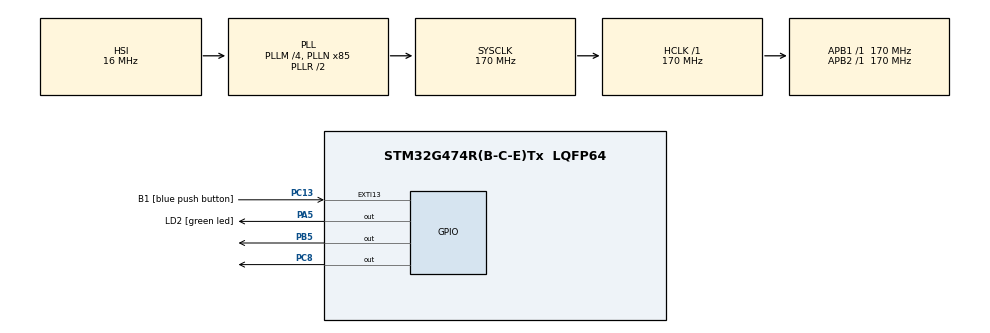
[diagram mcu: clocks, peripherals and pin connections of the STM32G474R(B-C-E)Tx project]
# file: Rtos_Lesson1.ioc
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FREERTOS.Tasks01=defaultTask,0,128,StartDefaultTask,Default,NULL,Dynamic,NULL,NULL;LedTask1,1,128,LedTaskFunc,Default,NULL,Dynamic,NULL,NULL;myTask03,0,128,YellowLED,Default,NULL,Dynamic,NULL,NULL
FREERTOS.configUSE_NEWLIB_REENTRANT=0
Mcu.Family=STM32G4
Mcu.Name=STM32G474R(B-C-E)Tx
Mcu.Package=LQFP64
NVIC.EXTI15_10_IRQn=true\:5\:0\:false\:false\:true\:true\:true\:true\:true
NVIC.PriorityGroup=NVIC_PRIORITYGROUP_4
PA13.GPIO_Label=T_SWDIO
PA13.Mode=Trace_Asynchronous_SW
PA13.Signal=SYS_JTMS-SWDIO
PA14.GPIO_Label=T_SWCLK
PA14.Mode=Trace_Asynchronous_SW
PA14.Signal=SYS_JTCK-SWCLK
PA2.GPIO_Label=LPUART1_TX [STLINKV3E_VCP_RX]
PA2.Signal=LPUART1_TX
PA3.GPIO_Label=LPUART1_RX [STLINKV3E_VCP_TX]
PA3.Signal=LPUART1_RX
PA5.GPIO_Label=LD2 [green led]
PA5.Signal=GPIO_Output
PB3.GPIO_Label=T_SWO
PB3.Mode=Trace_Asynchronous_SW
PB3.Signal=SYS_JTDO-SWO
PB5.Signal=GPIO_Output
PC13.GPIO_Label=B1 [blue push button]
PC13.Signal=GPXTI13
PC14-OSC32_IN.Mode=LSE-External-Oscillator
PC14-OSC32_IN.Signal=RCC_OSC32_IN
PC15-OSC32_OUT.Mode=LSE-External-Oscillator
PC15-OSC32_OUT.Signal=RCC_OSC32_OUT
PC8.Signal=GPIO_Output
PF0-OSC_IN.Mode=HSE-External-Oscillator
PF0-OSC_IN.Signal=RCC_OSC_IN
PF1-OSC_OUT.Mode=HSE-External-Oscillator
PF1-OSC_OUT.Signal=RCC_OSC_OUT
ProjectManager.HeapSize=0x200
ProjectManager.StackSize=0x400
ProjectManager.TargetToolchain=STM32CubeIDE
RCC.ADC12Freq_Value=170000000
RCC.ADC345Freq_Value=170000000
RCC.AHBFreq_Value=170000000
RCC.APB1Freq_Value=170000000
RCC.APB1TimFreq_Value=170000000
RCC.APB2Freq_Value=170000000
RCC.APB2TimFreq_Value=170000000
RCC.CortexFreq_Value=170000000
RCC.EXTERNAL_CLOCK_VALUE=12288000
RCC.HCLKFreq_Value=170000000
RCC.HSE_VALUE=24000000
RCC.HSI48_VALUE=48000000
RCC.HSI_VALUE=16000000
RCC.PLLM=RCC_PLLM_DIV4
RCC.PLLN=85
RCC.RTCClockSelection=RCC_RTCCLKSOURCE_LSE
RCC.SYSCLKFreq_VALUE=170000000
RCC.SYSCLKSource=RCC_SYSCLKSOURCE_PLLCLK
RCC.USBFreq_Value=170000000
RCC.VCOOutputFreq_Value=340000000
VP_FREERTOS_VS_CMSIS_V1.Mode=CMSIS_V1
VP_SYS_VS_DBSignals.Mode=DisableDeadBatterySignals
board=NUCLEO-G474RE

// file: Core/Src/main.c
/* USER CODE BEGIN Header */
/**
 ******************************************************************************
 * @file           : main.c
 * @brief          : Main program body
 ******************************************************************************
 * @attention
 *
 * Copyright (c) 2023 STMicroelectronics.
 * All rights reserved.
 *
 * This software is licensed under terms that can be found in the LICENSE file
 * in the root directory of this software component.
 * If no LICENSE file comes with this software, it is provided AS-IS.
 *
 ******************************************************************************
 */
/* USER CODE END Header */
#include "main.h"
#include "cmsis_os.h"
#include "gpio.h"

void SystemClock_Config(void);
void MX_FREERTOS_Init(void);

int main(void)
{

  /* MCU Configuration--------------------------------------------------------*/

  /* Reset of all peripherals, Initializes the Flash interface and the Systick. */
  HAL_Init();

  /* Configure the system clock */
  SystemClock_Config();

  /* Initialize all configured peripherals */
  MX_GPIO_Init();

  /* Call init function for freertos objects (in freertos.c) */
  MX_FREERTOS_Init();

  /* Start scheduler */
  osKernelStart();
  /* We should never get here as control is now taken by the scheduler */
  /* Infinite loop */
  /* USER CODE BEGIN WHILE */
  while (1) {
    NVIC_SystemReset;
    /* USER CODE END WHILE */

  }
}

void SystemClock_Config(void)
{
  RCC_OscInitTypeDef RCC_OscInitStruct = {0};
  RCC_ClkInitTypeDef RCC_ClkInitStruct = {0};

  /** Configure the main internal regulator output voltage
  */
  HAL_PWREx_ControlVoltageScaling(PWR_REGULATOR_VOLTAGE_SCALE1_BOOST);

  /** Initializes the RCC Oscillators according to the specified parameters
  * in the RCC_OscInitTypeDef structure.
  */
  RCC_OscInitStruct.OscillatorType = RCC_OSCILLATORTYPE_HSI;
  RCC_OscInitStruct.HSIState = RCC_HSI_ON;
  RCC_OscInitStruct.HSICalibrationValue = RCC_HSICALIBRATION_DEFAULT;
  RCC_OscInitStruct.PLL.PLLState = RCC_PLL_ON;
  RCC_OscInitStruct.PLL.PLLSource = RCC_PLLSOURCE_HSI;
  RCC_OscInitStruct.PLL.PLLM = RCC_PLLM_DIV4;
  RCC_OscInitStruct.PLL.PLLN = 85;
  RCC_OscInitStruct.PLL.PLLP = RCC_PLLP_DIV2;
  RCC_OscInitStruct.PLL.PLLQ = RCC_PLLQ_DIV2;
  RCC_OscInitStruct.PLL.PLLR = RCC_PLLR_DIV2;
  if (HAL_RCC_OscConfig(&RCC_OscInitStruct) != HAL_OK)
  {
    Error_Handler();
  }

  /** Initializes the CPU, AHB and APB buses clocks
  */
  RCC_ClkInitStruct.ClockType = RCC_CLOCKTYPE_HCLK|RCC_CLOCKTYPE_SYSCLK
                              |RCC_CLOCKTYPE_PCLK1|RCC_CLOCKTYPE_PCLK2;
  RCC_ClkInitStruct.SYSCLKSource = RCC_SYSCLKSOURCE_PLLCLK;
  RCC_ClkInitStruct.AHBCLKDivider = RCC_SYSCLK_DIV1;
  RCC_ClkInitStruct.APB1CLKDivider = RCC_HCLK_DIV1;
  RCC_ClkInitStruct.APB2CLKDivider = RCC_HCLK_DIV1;

  if (HAL_RCC_ClockConfig(&RCC_ClkInitStruct, FLASH_LATENCY_4) != HAL_OK)
  {
    Error_Handler();
  }
}

void Error_Handler(void)
{
  __disable_irq();
  while (1) {
  }
}

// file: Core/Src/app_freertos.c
/* USER CODE BEGIN Header */
/**
 ******************************************************************************
 * File Name          : app_freertos.c
 * Description        : Code for freertos applications
 ******************************************************************************
 * @attention
 *
 * Copyright (c) 2023 STMicroelectronics.
 * All rights reserved.
 *
 * This software is licensed under terms that can be found in the LICENSE file
 * in the root directory of this software component.
 * If no LICENSE file comes with this software, it is provided AS-IS.
 *
 ******************************************************************************
 */
/* USER CODE END Header */

#include "FreeRTOS.h"
#include "task.h"
#include "main.h"
#include "cmsis_os.h"

/* USER CODE BEGIN Includes */
#include <stdio.h>
#include <stdlib.h>
#include <time.h>
/* USER CODE END Includes */

/* USER CODE BEGIN PD */
//#define USER_BUTTON_PIN                       GPIO_PIN_13
//#define USER_BUTTON_GPIO_PORT                 GPIOC
#define YELLOW_PIN                              GPIO_PIN_5
#define YELLOW_GPIO_PORT                        GPIOB
/* USER CODE END PD */

/* USER CODE BEGIN Variables */
uint32_t LD2_Period = 100;
uint32_t YELLOW_Period = 300;

int i, n = 5;
time_t t;

/* USER CODE END Variables */
osThreadId defaultTaskHandle;
osThreadId LedTask1Handle;
osThreadId myTask03Handle;

/* USER CODE BEGIN FunctionPrototypes */
uint16_t sqrt_new(uint32_t L) {
  if (L < 2)
    return (uint16_t) L;

  uint32_t rslt, div;

  rslt = L;
  div = L / 2;

  while (1) {
    div = (L / div + div) / 2;

    if (rslt > div)
      rslt = div;
    else
      return (uint16_t) rslt;
  }
}
/* USER CODE END FunctionPrototypes */

void StartDefaultTask(const void *argument);
void LedTaskFunc(const void *argument);
void YellowLED(const void *argument);

void MX_FREERTOS_Init(void); /* (MISRA C 2004 rule 8.1) */

void MX_FREERTOS_Init(void) {

  /* Create the thread(s) */
  /* definition and creation of defaultTask */
  osThreadDef(defaultTask, StartDefaultTask, osPriorityNormal, 0, 128);
  defaultTaskHandle = osThreadCreate(osThread(defaultTask), NULL);

  /* definition and creation of LedTask1 */
  osThreadDef(LedTask1, LedTaskFunc, osPriorityAboveNormal, 0, 128);
  LedTask1Handle = osThreadCreate(osThread(LedTask1), NULL);

  /* definition and creation of myTask03 */
  osThreadDef(myTask03, YellowLED, osPriorityNormal, 0, 128);
  myTask03Handle = osThreadCreate(osThread(myTask03), NULL);

}

void StartDefaultTask(const void *argument) {
  /* USER CODE BEGIN StartDefaultTask */
  /* Infinite loop */
  for (;;) {
    if (LD2_Period == 100) {
      LD2_Period = 1000;
    } else
      LD2_Period = 100;
    osDelay(5000);
  }
  /* USER CODE END StartDefaultTask */
}

void LedTaskFunc(const void *argument) {
  /* USER CODE BEGIN LedTaskFunc */
  /* Infinite loop */
  for (;;) {
    HAL_GPIO_TogglePin(LD2_GPIO_Port, LD2_Pin);

    osDelay(LD2_Period);
  }
  /* USER CODE END LedTaskFunc */
}

void YellowLED(const void *argument) {
  /* USER CODE BEGIN YellowLED */
  srand((unsigned) time(&t));
  /* Infinite loop */
  for (;;) {
    HAL_GPIO_TogglePin(YELLOW_GPIO_PORT, YELLOW_PIN);
    //osDelay(3 * sqrt_new(LD2_Period));
    osDelay(rand() % 500);

  }
  /* USER CODE END YellowLED */
}
